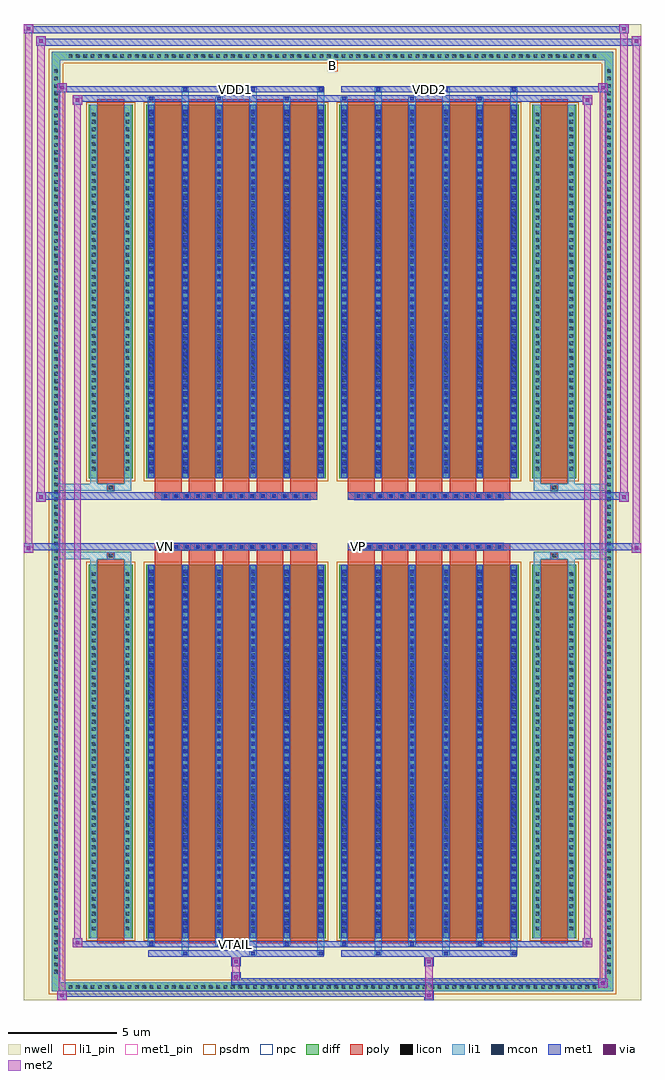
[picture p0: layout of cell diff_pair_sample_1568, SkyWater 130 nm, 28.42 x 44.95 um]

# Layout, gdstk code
import gdstk
lib = gdstk.Library(unit=1e-6, precision=5e-09)
def R(c, l, rs):  # rectangles x0, y0, x1, y1
    for r in rs: c.add(gdstk.rectangle(r[:2], r[2:], *l))
def A(c, l, x, y, w, h, nx, ny, dx, dy):  # array of equal rectangles
    R(c, l, [(x+i*dx, y+j*dy, x+i*dx+w, y+j*dy+h) for i in range(nx) for j in range(ny)])
def P(c, l, *ps):  # polygons
    for p in ps: c.add(gdstk.Polygon(p, *l))
nwell = (64, 20)
diff = (65, 20)
poly = (66, 20)
licon = (66, 44)
li1_pin = (67, 16)
li1 = (67, 20)
mcon = (67, 44)
met1_pin = (68, 16)
met1 = (68, 20)
via = (68, 44)
met2 = (69, 20)
psdm = (94, 20)
npc = (95, 20)

diff_pair_sample_1568 = lib.new_cell('diff_pair_sample_1568')
R(diff_pair_sample_1568, nwell, [(-14.21,-22.04,14.21,22.91), (-11.53,-20.23,-0.01,-0.805), (0.01,-20.23,11.53,-0.805), (-11.53,0.805,-0.01,20.23), (0.01,0.805,11.53,20.23)])
A(diff_pair_sample_1568, diff, -12.275, -21.64, 0.41, 0.41, 72, 2, 0.34, 42.87)
A(diff_pair_sample_1568, diff, -12.94, -20.945, 0.41, 0.41, 1, 123, 0, 0.34)
A(diff_pair_sample_1568, diff, 12.53, -20.945, 0.41, 0.41, 1, 123, 0, 0.34)
R(diff_pair_sample_1568, diff, [(-12.275,-21.64,12.275,-21.23), (-12.94,-20.945,-12.53,20.945), (12.53,-20.945,12.94,20.945), (-11.22,-19.185,-9.21,-1.985), (-8.57,-19.185,-0.32,-1.985), (0.32,-19.185,8.57,-1.985), (9.21,-19.185,11.22,-1.985), (-11.22,1.985,-9.21,19.185), (-8.57,1.985,-0.32,19.185), (0.32,1.985,8.57,19.185), (9.21,1.985,11.22,19.185), (-12.275,21.23,12.275,21.64)])
P(diff_pair_sample_1568, diff, [(12.94,21.64),(-12.94,21.64),(-12.94,-21.23),(-12.53,-21.23),(-12.53,21.23),(12.53,21.23),(12.53,-21.23),(-12.53,-21.23),(-12.94,-21.23),(-12.94,-21.64),(12.94,-21.64)])
A(diff_pair_sample_1568, poly, -8.18, -19.435, 1.23, 17.7, 5, 2, 1.56, 21.17)
A(diff_pair_sample_1568, poly, 0.71, -19.435, 1.23, 17.7, 5, 2, 1.56, 21.17)
A(diff_pair_sample_1568, poly, -8.18, -1.735, 1.23, 0.4, 5, 2, 1.56, 3.07)
A(diff_pair_sample_1568, poly, 0.71, -1.735, 1.23, 0.4, 5, 2, 1.56, 3.07)
A(diff_pair_sample_1568, poly, -7.86, -1.335, 0.33, 0.33, 14, 2, 0.5, 2.34)
A(diff_pair_sample_1568, poly, 1.03, -1.335, 0.33, 0.33, 14, 2, 0.5, 2.34)
R(diff_pair_sample_1568, poly, [(-10.83,-19.435,-9.6,-1.735), (9.6,-19.435,10.83,-1.735), (-10.38,-1.735,-10.05,-1.405), (-10.38,-1.735,-10.05,-1.405), (10.05,-1.735,10.38,-1.405), (10.05,-1.735,10.38,-1.405), (-8.18,-1.335,-0.71,-1.005), (0.71,-1.335,8.18,-1.005), (-8.18,1.005,-0.71,1.335), (0.71,1.005,8.18,1.335), (-10.38,1.405,-10.05,1.735), (-10.38,1.405,-10.05,1.735), (10.05,1.405,10.38,1.735), (10.05,1.405,10.38,1.735), (-10.83,1.735,-9.6,19.435), (9.6,1.735,10.83,19.435)])
A(diff_pair_sample_1568, licon, -12.155, -21.52, 0.17, 0.17, 72, 2, 0.34, 42.87)
A(diff_pair_sample_1568, licon, -12.82, -20.825, 0.17, 0.17, 1, 123, 0, 0.34)
A(diff_pair_sample_1568, licon, 12.65, -20.825, 0.17, 0.17, 1, 123, 0, 0.34)
A(diff_pair_sample_1568, licon, -11.08, -18.83, 0.17, 0.17, 1, 49, 0, 0.34)
A(diff_pair_sample_1568, licon, -9.52, -18.83, 0.17, 0.17, 1, 49, 0, 0.34)
A(diff_pair_sample_1568, licon, -8.43, -18.83, 0.17, 0.17, 6, 49, 1.56, 0.34)
A(diff_pair_sample_1568, licon, 0.46, -18.83, 0.17, 0.17, 6, 49, 1.56, 0.34)
A(diff_pair_sample_1568, licon, 9.35, -18.83, 0.17, 0.17, 1, 49, 0, 0.34)
A(diff_pair_sample_1568, licon, 10.91, -18.83, 0.17, 0.17, 1, 49, 0, 0.34)
A(diff_pair_sample_1568, licon, -7.78, -1.255, 0.17, 0.17, 14, 2, 0.5, 2.34)
A(diff_pair_sample_1568, licon, 1.11, -1.255, 0.17, 0.17, 14, 2, 0.5, 2.34)
A(diff_pair_sample_1568, licon, -11.08, 2.34, 0.17, 0.17, 1, 49, 0, 0.34)
A(diff_pair_sample_1568, licon, -9.52, 2.34, 0.17, 0.17, 1, 49, 0, 0.34)
A(diff_pair_sample_1568, licon, -8.43, 2.34, 0.17, 0.17, 6, 49, 1.56, 0.34)
A(diff_pair_sample_1568, licon, 0.46, 2.34, 0.17, 0.17, 6, 49, 1.56, 0.34)
A(diff_pair_sample_1568, licon, 9.35, 2.34, 0.17, 0.17, 1, 49, 0, 0.34)
A(diff_pair_sample_1568, licon, 10.91, 2.34, 0.17, 0.17, 1, 49, 0, 0.34)
R(diff_pair_sample_1568, licon, [(-10.3,-1.655,-10.13,-1.485), (10.13,-1.655,10.3,-1.485), (-10.3,1.485,-10.13,1.655), (10.13,1.485,10.3,1.655)])
R(diff_pair_sample_1568, li1_pin, [(-0.25,20.73,0.25,21.23)])
A(diff_pair_sample_1568, li1, -12.235, -21.6, 0.33, 0.33, 72, 2, 0.34, 42.87)
A(diff_pair_sample_1568, li1, -12.9, -20.905, 0.33, 0.33, 1, 123, 0, 0.34)
A(diff_pair_sample_1568, li1, 12.57, -20.905, 0.33, 0.33, 1, 123, 0, 0.34)
A(diff_pair_sample_1568, li1, -6.95, -19.99, 0.33, 0.805, 3, 2, 3.12, 39.175)
A(diff_pair_sample_1568, li1, -6.87, -19.99, 0.17, 0.17, 3, 2, 3.12, 39.81)
A(diff_pair_sample_1568, li1, 1.94, -19.99, 0.33, 0.805, 3, 2, 3.12, 39.175)
A(diff_pair_sample_1568, li1, 2.02, -19.99, 0.17, 0.17, 3, 2, 3.12, 39.81)
A(diff_pair_sample_1568, li1, -8.51, -19.56, 0.33, 0.375, 3, 2, 3.12, 38.745)
A(diff_pair_sample_1568, li1, -8.43, -19.56, 0.17, 0.17, 3, 2, 3.12, 38.95)
A(diff_pair_sample_1568, li1, 0.38, -19.56, 0.33, 0.375, 3, 2, 3.12, 38.745)
A(diff_pair_sample_1568, li1, 0.46, -19.56, 0.17, 0.17, 3, 2, 3.12, 38.95)
A(diff_pair_sample_1568, li1, -8.51, -19.185, 0.33, 17.2, 6, 2, 1.56, 21.17)
A(diff_pair_sample_1568, li1, 0.38, -19.185, 0.33, 17.2, 6, 2, 1.56, 21.17)
A(diff_pair_sample_1568, li1, -8.43, -18.95, 0.17, 0.17, 6, 47, 1.56, 0.36)
A(diff_pair_sample_1568, li1, -8.43, -18.95, 0.17, 16.73, 6, 2, 1.56, 21.17)
A(diff_pair_sample_1568, li1, 0.46, -18.95, 0.17, 0.17, 6, 47, 1.56, 0.36)
A(diff_pair_sample_1568, li1, 0.46, -18.95, 0.17, 16.73, 6, 2, 1.56, 21.17)
A(diff_pair_sample_1568, li1, -11.16, -18.91, 0.33, 0.33, 1, 49, 0, 0.34)
A(diff_pair_sample_1568, li1, -9.6, -18.91, 0.33, 0.33, 1, 49, 0, 0.34)
A(diff_pair_sample_1568, li1, -8.51, -18.91, 0.33, 0.33, 6, 49, 1.56, 0.34)
A(diff_pair_sample_1568, li1, 0.38, -18.91, 0.33, 0.33, 6, 49, 1.56, 0.34)
A(diff_pair_sample_1568, li1, 9.27, -18.91, 0.33, 0.33, 1, 49, 0, 0.34)
A(diff_pair_sample_1568, li1, 10.83, -18.91, 0.33, 0.33, 1, 49, 0, 0.34)
A(diff_pair_sample_1568, li1, -7.86, -1.335, 0.33, 0.33, 14, 2, 0.5, 2.34)
A(diff_pair_sample_1568, li1, 1.03, -1.335, 0.33, 0.33, 14, 2, 0.5, 2.34)
A(diff_pair_sample_1568, li1, -8.43, 2.22, 0.17, 0.17, 6, 47, 1.56, 0.36)
A(diff_pair_sample_1568, li1, 0.46, 2.22, 0.17, 0.17, 6, 47, 1.56, 0.36)
A(diff_pair_sample_1568, li1, -11.16, 2.26, 0.33, 0.33, 1, 49, 0, 0.34)
A(diff_pair_sample_1568, li1, -9.6, 2.26, 0.33, 0.33, 1, 49, 0, 0.34)
A(diff_pair_sample_1568, li1, -8.51, 2.26, 0.33, 0.33, 6, 49, 1.56, 0.34)
A(diff_pair_sample_1568, li1, 0.38, 2.26, 0.33, 0.33, 6, 49, 1.56, 0.34)
A(diff_pair_sample_1568, li1, 9.27, 2.26, 0.33, 0.33, 1, 49, 0, 0.34)
A(diff_pair_sample_1568, li1, 10.83, 2.26, 0.33, 0.33, 1, 49, 0, 0.34)
R(diff_pair_sample_1568, li1, [(-12.94,-21.64,-12.53,-21.23), (-12.94,-21.64,-12.53,-21.23), (-12.53,-21.64,12.53,-21.23), (12.53,-21.64,12.94,-21.23), (12.53,-21.64,12.94,-21.23), (-12.94,-21.23,-12.53,21.23), (12.53,-21.23,12.94,21.23), (-11.16,-19.185,-10.83,-1.985), (-9.6,-19.185,-9.27,-1.985), (9.27,-19.185,9.6,-1.985), (10.83,-19.185,11.16,-1.985), (-11.16,-1.985,-10.83,-1.405), (-9.6,-1.985,-9.27,-1.405), (9.27,-1.985,9.6,-1.405), (10.83,-1.985,11.16,-1.405), (-12.94,-1.735,-10.38,-1.405), (-11.16,-1.735,-10.38,-1.405), (-10.38,-1.735,-10.05,-1.405), (-10.05,-1.735,-9.27,-1.405), (9.27,-1.735,10.05,-1.405), (10.05,-1.735,10.38,-1.405), (10.05,-1.735,12.94,-1.405), (10.38,-1.735,11.16,-1.405), (-12.94,1.405,-10.38,1.735), (-11.16,1.405,-10.38,1.735), (-11.16,1.405,-10.83,1.985), (-10.38,1.405,-10.05,1.735), (-10.05,1.405,-9.27,1.735), (-9.6,1.405,-9.27,1.985), (9.27,1.405,10.05,1.735), (9.27,1.405,9.6,1.985), (10.05,1.405,10.38,1.735), (10.05,1.405,12.94,1.735), (10.38,1.405,11.16,1.735), (10.83,1.405,11.16,1.985), (-11.16,1.985,-10.83,19.185), (-9.6,1.985,-9.27,19.185), (9.27,1.985,9.6,19.185), (10.83,1.985,11.16,19.185), (-12.94,21.23,-12.53,21.64), (-12.94,21.23,-12.53,21.64), (-12.53,21.23,12.53,21.64), (12.53,21.23,12.94,21.64), (12.53,21.23,12.94,21.64)])
A(diff_pair_sample_1568, mcon, -6.87, -19.99, 0.17, 0.17, 3, 2, 3.12, 39.81)
A(diff_pair_sample_1568, mcon, 2.02, -19.99, 0.17, 0.17, 3, 2, 3.12, 39.81)
A(diff_pair_sample_1568, mcon, -8.43, -19.56, 0.17, 0.17, 3, 2, 3.12, 38.95)
A(diff_pair_sample_1568, mcon, 0.46, -19.56, 0.17, 0.17, 3, 2, 3.12, 38.95)
A(diff_pair_sample_1568, mcon, -8.43, -18.95, 0.17, 0.17, 6, 47, 1.56, 0.36)
A(diff_pair_sample_1568, mcon, 0.46, -18.95, 0.17, 0.17, 6, 47, 1.56, 0.36)
A(diff_pair_sample_1568, mcon, -7.78, -1.255, 0.17, 0.17, 14, 2, 0.5, 2.34)
A(diff_pair_sample_1568, mcon, 1.11, -1.255, 0.17, 0.17, 14, 2, 0.5, 2.34)
A(diff_pair_sample_1568, mcon, -8.43, 2.22, 0.17, 0.17, 6, 47, 1.56, 0.36)
A(diff_pair_sample_1568, mcon, 0.46, 2.22, 0.17, 0.17, 6, 47, 1.56, 0.36)
R(diff_pair_sample_1568, met1_pin, [(-4.58,-19.6,-4.31,-19.33), (-7.83,-1.295,-7.56,-1.025), (1.06,-1.295,1.33,-1.025), (-4.58,19.78,-4.31,20.05), (4.31,19.78,4.58,20.05)])
A(diff_pair_sample_1568, met1, -6.93, -20.05, 0.29, 0.29, 3, 2, 3.12, 39.81)
A(diff_pair_sample_1568, met1, 1.96, -20.05, 0.29, 0.29, 3, 2, 3.12, 39.81)
A(diff_pair_sample_1568, met1, -8.49, -19.62, 0.29, 0.29, 3, 2, 3.12, 38.95)
A(diff_pair_sample_1568, met1, 0.4, -19.62, 0.29, 0.29, 3, 2, 3.12, 38.95)
A(diff_pair_sample_1568, met1, -8.49, -19.185, 0.29, 17.2, 6, 2, 1.56, 21.17)
A(diff_pair_sample_1568, met1, 0.4, -19.185, 0.29, 17.2, 6, 2, 1.56, 21.17)
A(diff_pair_sample_1568, met1, -8.49, -19.01, 0.29, 0.29, 6, 47, 1.56, 0.36)
A(diff_pair_sample_1568, met1, 0.4, -19.01, 0.29, 0.29, 6, 47, 1.56, 0.36)
A(diff_pair_sample_1568, met1, -7.84, -1.315, 0.29, 0.29, 14, 2, 0.5, 2.34)
A(diff_pair_sample_1568, met1, 1.05, -1.315, 0.29, 0.29, 14, 2, 0.5, 2.34)
A(diff_pair_sample_1568, met1, -8.49, 2.16, 0.29, 0.29, 6, 47, 1.56, 0.36)
A(diff_pair_sample_1568, met1, 0.4, 2.16, 0.29, 0.29, 6, 47, 1.56, 0.36)
R(diff_pair_sample_1568, met1, [(-12.67,-22.04,-12.24,-21.61), (4.23,-22.04,4.66,-21.61), (-12.67,-21.9,4.66,-21.61), (12.24,-21.47,12.67,-21.04), (-4.66,-21.33,12.67,-21.04), (-4.66,-21.19,-4.23,-20.76), (-4.66,-20.48,-4.23,-20.05), (4.23,-20.48,4.66,-20.05), (-8.49,-20.05,-0.4,-19.76), (0.4,-20.05,8.49,-19.76), (-11.96,-19.62,-11.53,-19.19), (-11.96,-19.62,-8.49,-19.33), (-8.49,-19.62,-0.4,-19.33), (-0.4,-19.62,0.4,-19.33), (0.4,-19.62,8.49,-19.33), (8.49,-19.62,11.96,-19.33), (11.53,-19.62,11.96,-19.19), (-14.21,-1.435,-13.78,-1.005), (13.78,-1.435,14.21,-1.005), (-14.21,-1.335,-0.71,-1.005), (-8.18,-1.335,-0.71,-1.005), (0.71,-1.335,8.18,-1.005), (0.71,-1.335,14.21,-1.005), (-13.64,0.905,-13.21,1.335), (13.21,0.905,13.64,1.335), (-13.64,1.005,-8.18,1.335), (-8.18,1.005,-0.71,1.335), (0.71,1.005,8.18,1.335), (8.18,1.005,13.64,1.335), (-11.96,19.19,-11.53,19.62), (11.53,19.19,11.96,19.62), (-11.96,19.33,-8.49,19.62), (-8.49,19.33,-0.4,19.62), (-0.4,19.33,0.4,19.62), (0.4,19.33,8.49,19.62), (8.49,19.33,11.96,19.62), (-12.67,19.76,-12.24,20.19), (-12.67,19.76,-8.49,20.05), (-8.49,19.76,-0.4,20.05), (0.4,19.76,8.49,20.05), (8.49,19.76,12.67,20.05), (12.24,19.76,12.67,20.19), (-13.64,21.91,-13.21,22.34), (-13.64,21.91,-11.53,22.24), (-11.53,21.91,11.53,22.24), (11.53,21.91,14.21,22.24), (13.78,21.91,14.21,22.34), (-14.21,22.48,-13.78,22.91), (-14.21,22.48,-11.53,22.81), (-11.53,22.48,11.53,22.81), (11.53,22.48,13.64,22.81), (13.21,22.48,13.64,22.91)])
R(diff_pair_sample_1568, via, [(-12.53,-21.9,-12.38,-21.75), (4.37,-21.9,4.52,-21.75), (12.38,-21.33,12.53,-21.18), (-4.52,-21.05,-4.37,-20.9), (-4.52,-20.34,-4.37,-20.19), (4.37,-20.34,4.52,-20.19), (-11.82,-19.48,-11.67,-19.33), (11.67,-19.48,11.82,-19.33), (-14.07,-1.295,-13.92,-1.145), (13.92,-1.295,14.07,-1.145), (-13.5,1.045,-13.35,1.195), (13.35,1.045,13.5,1.195), (-11.82,19.33,-11.67,19.48), (11.67,19.33,11.82,19.48), (-12.53,19.9,-12.38,20.05), (12.38,19.9,12.53,20.05), (-13.5,22.05,-13.35,22.2), (13.92,22.05,14.07,22.2), (-14.07,22.62,-13.92,22.77), (13.35,22.62,13.5,22.77)])
R(diff_pair_sample_1568, met2, [(-12.67,-22.04,-12.24,-21.61), (-12.6,-22.04,-12.31,20.19), (-12.31,-22.04,-12.24,-21.61), (-12.62,-21.99,-12.29,-21.66), (4.28,-21.99,4.61,-21.66), (4.28,-21.66,4.61,-20.43), (12.24,-21.47,12.67,-21.04), (12.31,-21.47,12.6,20.19), (12.6,-21.47,12.67,-21.04), (12.29,-21.42,12.62,-21.09), (-4.61,-21.14,-4.28,-20.81), (-4.61,-20.81,-4.28,-20.43), (-4.61,-20.43,-4.28,-20.1), (4.28,-20.43,4.61,-20.1), (-11.96,-19.62,-11.53,-19.19), (-11.89,-19.62,-11.6,19.62), (-11.6,-19.62,-11.53,-19.19), (11.53,-19.62,11.96,-19.19), (11.6,-19.62,11.89,19.62), (11.89,-19.62,11.96,-19.19), (-11.91,-19.57,-11.58,-19.24), (11.58,-19.57,11.91,-19.24), (-14.21,-1.435,-13.78,-1.005), (-14.16,-1.435,-13.83,22.91), (-13.83,-1.435,-13.78,-1.005), (13.78,-1.435,14.21,-1.005), (13.83,-1.435,14.16,22.34), (14.16,-1.435,14.21,-1.005), (-14.16,-1.385,-13.83,-1.055), (13.83,-1.385,14.16,-1.055), (-13.64,0.905,-13.21,1.335), (-13.59,0.905,-13.26,22.34), (-13.26,0.905,-13.21,1.335), (13.21,0.905,13.64,1.335), (13.26,0.905,13.59,22.91), (13.59,0.905,13.64,1.335), (-13.59,0.955,-13.26,1.285), (13.26,0.955,13.59,1.285), (-11.96,19.19,-11.53,19.62), (-11.6,19.19,-11.53,19.62), (11.53,19.19,11.96,19.62), (11.89,19.19,11.96,19.62), (-11.91,19.24,-11.58,19.57), (11.58,19.24,11.91,19.57), (-12.67,19.76,-12.24,20.19), (-12.31,19.76,-12.24,20.19), (12.24,19.76,12.67,20.19), (12.6,19.76,12.67,20.19), (-12.62,19.81,-12.29,20.14), (12.29,19.81,12.62,20.14), (-13.64,21.91,-13.21,22.34), (-13.26,21.91,-13.21,22.34), (13.78,21.91,14.21,22.34), (14.16,21.91,14.21,22.34), (-13.59,21.96,-13.26,22.29), (13.83,21.96,14.16,22.29), (-14.21,22.48,-13.78,22.91), (-13.83,22.48,-13.78,22.91), (13.21,22.48,13.64,22.91), (13.59,22.48,13.64,22.91), (-14.16,22.53,-13.83,22.86), (13.26,22.53,13.59,22.86)])
R(diff_pair_sample_1568, psdm, [(-11.35,-19.315,-9.08,-1.855), (-8.7,-19.315,-0.19,-1.855), (0.19,-19.315,8.7,-1.855), (9.08,-19.315,11.35,-1.855), (-11.35,1.855,-9.08,19.315), (-8.7,1.855,-0.19,19.315), (0.19,1.855,8.7,19.315), (9.08,1.855,11.35,19.315)])
P(diff_pair_sample_1568, psdm, [(13.07,21.77),(-13.07,21.77),(-13.07,-21.1),(-12.4,-21.1),(-12.4,21.1),(12.4,21.1),(12.4,-21.1),(-12.4,-21.1),(-13.07,-21.1),(-13.07,-21.77),(13.07,-21.77)])
A(diff_pair_sample_1568, npc, -7.88, -1.355, 0.37, 0.37, 14, 2, 0.5, 2.34)
A(diff_pair_sample_1568, npc, 1.01, -1.355, 0.37, 0.37, 14, 2, 0.5, 2.34)
R(diff_pair_sample_1568, npc, [(-10.4,-1.755,-10.03,-1.385), (10.03,-1.755,10.4,-1.385), (-7.88,-1.355,-7.01,-0.985), (-7.88,-1.355,-7.01,-0.985), (-7.38,-1.355,-6.51,-0.985), (-7.38,-1.355,-6.51,-0.985), (-6.88,-1.355,-6.01,-0.985), (-6.88,-1.355,-6.01,-0.985), (-6.38,-1.355,-5.51,-0.985), (-6.38,-1.355,-5.51,-0.985), (-5.88,-1.355,-5.01,-0.985), (-5.88,-1.355,-5.01,-0.985), (-5.38,-1.355,-4.51,-0.985), (-5.38,-1.355,-4.51,-0.985), (-4.88,-1.355,-4.01,-0.985), (-4.88,-1.355,-4.01,-0.985), (-4.38,-1.355,-3.51,-0.985), (-4.38,-1.355,-3.51,-0.985), (-3.88,-1.355,-3.01,-0.985), (-3.88,-1.355,-3.01,-0.985), (-3.38,-1.355,-2.51,-0.985), (-3.38,-1.355,-2.51,-0.985), (-2.88,-1.355,-2.01,-0.985), (-2.88,-1.355,-2.01,-0.985), (-2.38,-1.355,-1.51,-0.985), (-2.38,-1.355,-1.51,-0.985), (-1.88,-1.355,-1.01,-0.985), (-1.88,-1.355,-1.01,-0.985), (1.01,-1.355,1.88,-0.985), (1.01,-1.355,1.88,-0.985), (1.51,-1.355,2.38,-0.985), (1.51,-1.355,2.38,-0.985), (2.01,-1.355,2.88,-0.985), (2.01,-1.355,2.88,-0.985), (2.51,-1.355,3.38,-0.985), (2.51,-1.355,3.38,-0.985), (3.01,-1.355,3.88,-0.985), (3.01,-1.355,3.88,-0.985), (3.51,-1.355,4.38,-0.985), (3.51,-1.355,4.38,-0.985), (4.01,-1.355,4.88,-0.985), (4.01,-1.355,4.88,-0.985), (4.51,-1.355,5.38,-0.985), (4.51,-1.355,5.38,-0.985), (5.01,-1.355,5.88,-0.985), (5.01,-1.355,5.88,-0.985), (5.51,-1.355,6.38,-0.985), (5.51,-1.355,6.38,-0.985), (6.01,-1.355,6.88,-0.985), (6.01,-1.355,6.88,-0.985), (6.51,-1.355,7.38,-0.985), (6.51,-1.355,7.38,-0.985), (7.01,-1.355,7.88,-0.985), (7.01,-1.355,7.88,-0.985), (-7.88,0.985,-7.01,1.355), (-7.88,0.985,-7.01,1.355), (-7.38,0.985,-6.51,1.355), (-7.38,0.985,-6.51,1.355), (-6.88,0.985,-6.01,1.355), (-6.88,0.985,-6.01,1.355), (-6.38,0.985,-5.51,1.355), (-6.38,0.985,-5.51,1.355), (-5.88,0.985,-5.01,1.355), (-5.88,0.985,-5.01,1.355), (-5.38,0.985,-4.51,1.355), (-5.38,0.985,-4.51,1.355), (-4.88,0.985,-4.01,1.355), (-4.88,0.985,-4.01,1.355), (-4.38,0.985,-3.51,1.355), (-4.38,0.985,-3.51,1.355), (-3.88,0.985,-3.01,1.355), (-3.88,0.985,-3.01,1.355), (-3.38,0.985,-2.51,1.355), (-3.38,0.985,-2.51,1.355), (-2.88,0.985,-2.01,1.355), (-2.88,0.985,-2.01,1.355), (-2.38,0.985,-1.51,1.355), (-2.38,0.985,-1.51,1.355), (-1.88,0.985,-1.01,1.355), (-1.88,0.985,-1.01,1.355), (1.01,0.985,1.88,1.355), (1.01,0.985,1.88,1.355), (1.51,0.985,2.38,1.355), (1.51,0.985,2.38,1.355), (2.01,0.985,2.88,1.355), (2.01,0.985,2.88,1.355), (2.51,0.985,3.38,1.355), (2.51,0.985,3.38,1.355), (3.01,0.985,3.88,1.355), (3.01,0.985,3.88,1.355), (3.51,0.985,4.38,1.355), (3.51,0.985,4.38,1.355), (4.01,0.985,4.88,1.355), (4.01,0.985,4.88,1.355), (4.51,0.985,5.38,1.355), (4.51,0.985,5.38,1.355), (5.01,0.985,5.88,1.355), (5.01,0.985,5.88,1.355), (5.51,0.985,6.38,1.355), (5.51,0.985,6.38,1.355), (6.01,0.985,6.88,1.355), (6.01,0.985,6.88,1.355), (6.51,0.985,7.38,1.355), (6.51,0.985,7.38,1.355), (7.01,0.985,7.88,1.355), (7.01,0.985,7.88,1.355), (-10.4,1.385,-10.03,1.755), (10.03,1.385,10.4,1.755)])
diff_pair_sample_1568.add(gdstk.Label('VTAIL', (-4.445,-19.465), layer=68, texttype=5))
diff_pair_sample_1568.add(gdstk.Label('VN', (-7.695,-1.16), layer=68, texttype=5))
diff_pair_sample_1568.add(gdstk.Label('VP', (1.195,-1.16), layer=68, texttype=5))
diff_pair_sample_1568.add(gdstk.Label('B', (0,20.98), layer=67, texttype=5))
diff_pair_sample_1568.add(gdstk.Label('VDD2', (4.445,19.915), layer=68, texttype=5))
diff_pair_sample_1568.add(gdstk.Label('VDD1', (-4.445,19.915), layer=68, texttype=5))

lib.write_gds('diff_pair_sample_1568.gds')
